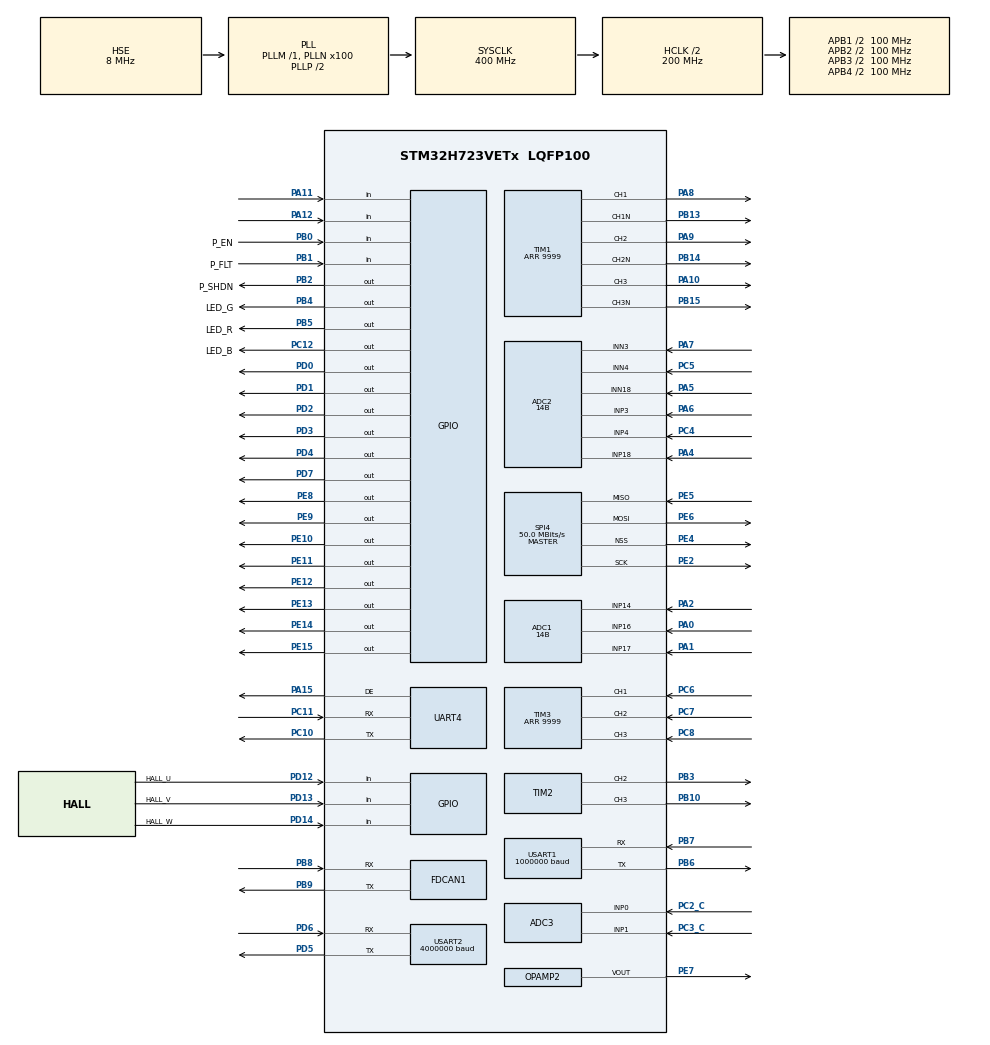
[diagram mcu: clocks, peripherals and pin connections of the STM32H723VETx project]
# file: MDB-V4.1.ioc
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ADC1.Channel-0\#ChannelRegularConversion=ADC_CHANNEL_14
ADC1.Channel-1\#ChannelRegularConversion=ADC_CHANNEL_17
ADC1.Channel-2\#ChannelRegularConversion=ADC_CHANNEL_16
ADC1.ClockPrescaler=ADC_CLOCK_ASYNC_DIV2
ADC1.ClockPrescalerADC3=ADC_CLOCK_ASYNC_DIV2
ADC1.ConversionDataManagement=ADC_CONVERSIONDATA_DMA_CIRCULAR
ADC1.EOCSelection=ADC_EOC_SEQ_CONV
ADC1.ExternalTrigConv=ADC_EXTERNALTRIG_T1_TRGO
ADC1.NbrOfConversion=3
ADC1.NbrOfConversionFlag=1
ADC1.OffsetNumber-0\#ChannelRegularConversion=ADC_OFFSET_NONE
ADC1.OffsetNumber-1\#ChannelRegularConversion=ADC_OFFSET_NONE
ADC1.OffsetNumber-2\#ChannelRegularConversion=ADC_OFFSET_NONE
ADC1.OffsetSignedSaturation-0\#ChannelRegularConversion=DISABLE
ADC1.OffsetSignedSaturation-1\#ChannelRegularConversion=DISABLE
ADC1.OffsetSignedSaturation-2\#ChannelRegularConversion=DISABLE
ADC1.Rank-0\#ChannelRegularConversion=1
ADC1.Rank-1\#ChannelRegularConversion=2
ADC1.Rank-2\#ChannelRegularConversion=3
ADC1.Resolution=ADC_RESOLUTION_14B
ADC1.SamplingTime-0\#ChannelRegularConversion=ADC_SAMPLETIME_1CYCLE_5
ADC1.SamplingTime-1\#ChannelRegularConversion=ADC_SAMPLETIME_1CYCLE_5
ADC1.SamplingTime-2\#ChannelRegularConversion=ADC_SAMPLETIME_1CYCLE_5
ADC1.master=1
ADC2.Channel-0\#ChannelRegularConversion=ADC_CHANNEL_4
ADC2.Channel-1\#ChannelRegularConversion=ADC_CHANNEL_3
ADC2.Channel-2\#ChannelRegularConversion=ADC_CHANNEL_18
ADC2.ClockPrescaler=ADC_CLOCK_ASYNC_DIV2
ADC2.ClockPrescalerADC3=ADC_CLOCK_ASYNC_DIV2
ADC2.ConversionDataManagement=ADC_CONVERSIONDATA_DMA_CIRCULAR
ADC2.EOCSelection=ADC_EOC_SEQ_CONV
ADC2.ExternalTrigConv=ADC_EXTERNALTRIG_T1_TRGO
ADC2.NbrOfConversion=3
ADC2.NbrOfConversionFlag=1
ADC2.OffsetNumber-0\#ChannelRegularConversion=ADC_OFFSET_NONE
ADC2.OffsetNumber-1\#ChannelRegularConversion=ADC_OFFSET_NONE
ADC2.OffsetNumber-2\#ChannelRegularConversion=ADC_OFFSET_NONE
ADC2.OffsetSignedSaturation-0\#ChannelRegularConversion=DISABLE
ADC2.Rank-0\#ChannelRegularConversion=1
ADC2.Rank-1\#ChannelRegularConversion=2
ADC2.Rank-2\#ChannelRegularConversion=3
ADC2.Resolution=ADC_RESOLUTION_14B
ADC2.SamplingTime-0\#ChannelRegularConversion=ADC_SAMPLETIME_2CYCLES_5
ADC2.SamplingTime-1\#ChannelRegularConversion=ADC_SAMPLETIME_2CYCLES_5
ADC2.SamplingTime-2\#ChannelRegularConversion=ADC_SAMPLETIME_2CYCLES_5
ADC2.SingleDiff-0\#ChannelRegularConversion=ADC_DIFFERENTIAL_ENDED
ADC2.SingleDiff-1\#ChannelRegularConversion=ADC_DIFFERENTIAL_ENDED
ADC2.SingleDiff-2\#ChannelRegularConversion=ADC_DIFFERENTIAL_ENDED
ADC3.Channel-0\#ChannelRegularConversion=ADC_CHANNEL_0
ADC3.Channel-1\#ChannelRegularConversion=ADC_CHANNEL_1
ADC3.ClockPrescaler=ADC_CLOCK_ASYNC_DIV2
ADC3.ClockPrescalerADC3=ADC_CLOCK_ASYNC_DIV2
ADC3.ConversionDataManagement=ADC_CONVERSIONDATA_DMA_CIRCULAR
ADC3.DMAContinuousRequests=ENABLE
ADC3.EOCSelection=ADC_EOC_SEQ_CONV
ADC3.ExternalTrigConv=ADC_EXTERNALTRIG_T1_TRGO
ADC3.NbrOfConversion=2
ADC3.NbrOfConversionFlag=1
ADC3.OffsetNumber-0\#ChannelRegularConversion=ADC_OFFSET_NONE
ADC3.OffsetNumber-1\#ChannelRegularConversion=ADC_OFFSET_NONE
ADC3.OffsetSign-0\#ChannelRegularConversion=ADC3_OFFSET_SIGN_NEGATIVE
ADC3.OffsetSign-1\#ChannelRegularConversion=ADC3_OFFSET_SIGN_NEGATIVE
ADC3.Rank-0\#ChannelRegularConversion=1
ADC3.Rank-1\#ChannelRegularConversion=2
ADC3.SamplingTime-0\#ChannelRegularConversion=ADC3_SAMPLETIME_2CYCLES_5
ADC3.SamplingTime-1\#ChannelRegularConversion=ADC3_SAMPLETIME_2CYCLES_5
DAC1.DAC_Channel-DAC_OUT2_Int=DAC_CHANNEL_2
Dma.ADC1.0.Direction=DMA_PERIPH_TO_MEMORY
Dma.ADC1.0.EventEnable=DISABLE
Dma.ADC1.0.FIFOMode=DMA_FIFOMODE_DISABLE
Dma.ADC1.0.Instance=DMA1_Stream0
Dma.ADC1.0.MemDataAlignment=DMA_MDATAALIGN_HALFWORD
Dma.ADC1.0.MemInc=DMA_MINC_ENABLE
Dma.ADC1.0.Mode=DMA_CIRCULAR
Dma.ADC1.0.PeriphDataAlignment=DMA_PDATAALIGN_HALFWORD
Dma.ADC1.0.PeriphInc=DMA_PINC_DISABLE
Dma.ADC1.0.Polarity=HAL_DMAMUX_REQ_GEN_RISING
Dma.ADC1.0.Priority=DMA_PRIORITY_VERY_HIGH
Dma.ADC1.0.RequestNumber=1
Dma.ADC1.0.SignalID=NONE
Dma.ADC1.0.SyncEnable=DISABLE
Dma.ADC1.0.SyncPolarity=HAL_DMAMUX_SYNC_NO_EVENT
Dma.ADC1.0.SyncRequestNumber=1
Dma.ADC1.0.SyncSignalID=NONE
Dma.ADC2.1.Direction=DMA_PERIPH_TO_MEMORY
Dma.ADC2.1.EventEnable=DISABLE
Dma.ADC2.1.FIFOMode=DMA_FIFOMODE_DISABLE
Dma.ADC2.1.Instance=DMA2_Stream0
Dma.ADC2.1.MemDataAlignment=DMA_MDATAALIGN_HALFWORD
Dma.ADC2.1.MemInc=DMA_MINC_ENABLE
Dma.ADC2.1.Mode=DMA_CIRCULAR
Dma.ADC2.1.PeriphDataAlignment=DMA_PDATAALIGN_HALFWORD
Dma.ADC2.1.PeriphInc=DMA_PINC_DISABLE
Dma.ADC2.1.Polarity=HAL_DMAMUX_REQ_GEN_RISING
Dma.ADC2.1.Priority=DMA_PRIORITY_VERY_HIGH
Dma.ADC2.1.RequestNumber=1
Dma.ADC2.1.SignalID=NONE
Dma.ADC2.1.SyncEnable=DISABLE
Dma.ADC2.1.SyncPolarity=HAL_DMAMUX_SYNC_NO_EVENT
Dma.ADC2.1.SyncRequestNumber=1
Dma.ADC2.1.SyncSignalID=NONE
Dma.ADC3.4.Direction=DMA_PERIPH_TO_MEMORY
Dma.ADC3.4.EventEnable=DISABLE
Dma.ADC3.4.FIFOMode=DMA_FIFOMODE_DISABLE
Dma.ADC3.4.Instance=DMA2_Stream1
Dma.ADC3.4.MemDataAlignment=DMA_MDATAALIGN_HALFWORD
Dma.ADC3.4.MemInc=DMA_MINC_ENABLE
Dma.ADC3.4.Mode=DMA_CIRCULAR
Dma.ADC3.4.PeriphDataAlignment=DMA_PDATAALIGN_HALFWORD
Dma.ADC3.4.PeriphInc=DMA_PINC_DISABLE
Dma.ADC3.4.Polarity=HAL_DMAMUX_REQ_GEN_RISING
Dma.ADC3.4.Priority=DMA_PRIORITY_HIGH
Dma.ADC3.4.RequestNumber=1
Dma.ADC3.4.SignalID=NONE
Dma.ADC3.4.SyncEnable=DISABLE
Dma.ADC3.4.SyncPolarity=HAL_DMAMUX_SYNC_NO_EVENT
Dma.ADC3.4.SyncRequestNumber=1
Dma.ADC3.4.SyncSignalID=NONE
Dma.Request0=ADC1
Dma.Request1=ADC2
Dma.Request2=USART1_TX
Dma.Request3=USART1_RX
Dma.Request4=ADC3
Dma.Request5=USART2_RX
Dma.Request6=USART2_TX
Dma.USART1_RX.3.Direction=DMA_PERIPH_TO_MEMORY
Dma.USART1_RX.3.EventEnable=DISABLE
Dma.USART1_RX.3.FIFOMode=DMA_FIFOMODE_DISABLE
Dma.USART1_RX.3.Instance=DMA1_Stream2
Dma.USART1_RX.3.MemDataAlignment=DMA_MDATAALIGN_BYTE
Dma.USART1_RX.3.MemInc=DMA_MINC_ENABLE
Dma.USART1_RX.3.Mode=DMA_NORMAL
Dma.USART1_RX.3.PeriphDataAlignment=DMA_PDATAALIGN_BYTE
Dma.USART1_RX.3.PeriphInc=DMA_PINC_DISABLE
Dma.USART1_RX.3.Polarity=HAL_DMAMUX_REQ_GEN_RISING
Dma.USART1_RX.3.Priority=DMA_PRIORITY_LOW
Dma.USART1_RX.3.RequestNumber=1
Dma.USART1_RX.3.SignalID=NONE
Dma.USART1_RX.3.SyncEnable=DISABLE
Dma.USART1_RX.3.SyncPolarity=HAL_DMAMUX_SYNC_NO_EVENT
Dma.USART1_RX.3.SyncRequestNumber=1
Dma.USART1_RX.3.SyncSignalID=NONE
Dma.USART1_TX.2.Direction=DMA_MEMORY_TO_PERIPH
Dma.USART1_TX.2.EventEnable=DISABLE
Dma.USART1_TX.2.FIFOMode=DMA_FIFOMODE_DISABLE
Dma.USART1_TX.2.Instance=DMA1_Stream1
Dma.USART1_TX.2.MemDataAlignment=DMA_MDATAALIGN_BYTE
Dma.USART1_TX.2.MemInc=DMA_MINC_ENABLE
Dma.USART1_TX.2.Mode=DMA_NORMAL
Dma.USART1_TX.2.PeriphDataAlignment=DMA_PDATAALIGN_BYTE
Dma.USART1_TX.2.PeriphInc=DMA_PINC_DISABLE
Dma.USART1_TX.2.Polarity=HAL_DMAMUX_REQ_GEN_RISING
Dma.USART1_TX.2.Priority=DMA_PRIORITY_LOW
Dma.USART1_TX.2.RequestNumber=1
Dma.USART1_TX.2.SignalID=NONE
Dma.USART1_TX.2.SyncEnable=DISABLE
Dma.USART1_TX.2.SyncPolarity=HAL_DMAMUX_SYNC_NO_EVENT
Dma.USART1_TX.2.SyncRequestNumber=1
Dma.USART1_TX.2.SyncSignalID=NONE
Dma.USART2_RX.5.Direction=DMA_PERIPH_TO_MEMORY
Dma.USART2_RX.5.EventEnable=DISABLE
Dma.USART2_RX.5.FIFOMode=DMA_FIFOMODE_DISABLE
Dma.USART2_RX.5.Instance=DMA1_Stream3
Dma.USART2_RX.5.MemDataAlignment=DMA_MDATAALIGN_BYTE
Dma.USART2_RX.5.MemInc=DMA_MINC_ENABLE
Dma.USART2_RX.5.Mode=DMA_NORMAL
Dma.USART2_RX.5.PeriphDataAlignment=DMA_PDATAALIGN_BYTE
Dma.USART2_RX.5.PeriphInc=DMA_PINC_DISABLE
Dma.USART2_RX.5.Polarity=HAL_DMAMUX_REQ_GEN_RISING
Dma.USART2_RX.5.Priority=DMA_PRIORITY_LOW
Dma.USART2_RX.5.RequestNumber=1
Dma.USART2_RX.5.SignalID=NONE
Dma.USART2_RX.5.SyncEnable=DISABLE
Dma.USART2_RX.5.SyncPolarity=HAL_DMAMUX_SYNC_NO_EVENT
Dma.USART2_RX.5.SyncRequestNumber=1
Dma.USART2_RX.5.SyncSignalID=NONE
Dma.USART2_TX.6.Direction=DMA_MEMORY_TO_PERIPH
Dma.USART2_TX.6.EventEnable=DISABLE
Dma.USART2_TX.6.FIFOMode=DMA_FIFOMODE_DISABLE
Dma.USART2_TX.6.Instance=DMA1_Stream4
Dma.USART2_TX.6.MemDataAlignment=DMA_MDATAALIGN_BYTE
Dma.USART2_TX.6.MemInc=DMA_MINC_ENABLE
Dma.USART2_TX.6.Mode=DMA_NORMAL
Dma.USART2_TX.6.PeriphDataAlignment=DMA_PDATAALIGN_BYTE
Dma.USART2_TX.6.PeriphInc=DMA_PINC_DISABLE
Dma.USART2_TX.6.Polarity=HAL_DMAMUX_REQ_GEN_RISING
Dma.USART2_TX.6.Priority=DMA_PRIORITY_LOW
Dma.USART2_TX.6.RequestNumber=1
Dma.USART2_TX.6.SignalID=NONE
Dma.USART2_TX.6.SyncEnable=DISABLE
Dma.USART2_TX.6.SyncPolarity=HAL_DMAMUX_SYNC_NO_EVENT
Dma.USART2_TX.6.SyncRequestNumber=1
Dma.USART2_TX.6.SyncSignalID=NONE
FDCAN1.CalculateBaudRateNominal=1250000
FDCAN1.CalculateTimeBitNominal=800
FDCAN1.CalculateTimeQuantumNominal=160.0
Mcu.Family=STM32H7
Mcu.Name=STM32H723VETx
Mcu.Package=LQFP100
NVIC.DMA1_Stream0_IRQn=true\:0\:0\:false\:false\:true\:false\:true\:true
NVIC.DMA1_Stream1_IRQn=true\:0\:0\:false\:false\:true\:false\:true\:true
NVIC.DMA1_Stream2_IRQn=true\:0\:0\:false\:false\:true\:false\:true\:true
NVIC.DMA1_Stream3_IRQn=true\:0\:0\:false\:false\:true\:false\:true\:true
NVIC.DMA1_Stream4_IRQn=true\:0\:0\:false\:false\:true\:false\:true\:true
NVIC.DMA2_Stream0_IRQn=true\:0\:0\:false\:false\:true\:false\:true\:true
NVIC.DMA2_Stream1_IRQn=true\:0\:0\:false\:false\:true\:false\:true\:true
NVIC.PriorityGroup=NVIC_PRIORITYGROUP_4
NVIC.TIM1_UP_IRQn=true\:0\:0\:false\:false\:true\:true\:true\:true
NVIC.USART1_IRQn=true\:0\:0\:false\:false\:true\:true\:true\:true
PA0.Mode=IN16-Single-Ended
PA0.Signal=ADC1_INP16
PA1.Mode=IN17-Single-Ended
PA1.Signal=ADC1_INP17
PA10.Signal=S_TIM1_CH3
PA11.Signal=GPIO_Input
PA12.Signal=GPIO_Input
PA13(JTMS/SWDIO).Mode=Serial_Wire
PA13(JTMS/SWDIO).Signal=DEBUG_JTMS-SWDIO
PA14(JTCK/SWCLK).Mode=Serial_Wire
PA14(JTCK/SWCLK).Signal=DEBUG_JTCK-SWCLK
PA15(JTDI).Mode=Hardware Flow Control (RS485)
PA15(JTDI).Signal=UART4_DE
PA2.Signal=ADCx_INP14
PA4.Signal=ADCx_INP18
PA5.Signal=ADCx_INN18
PA6.Signal=ADCx_INP3
PA7.Signal=ADCx_INN3
PA8.Signal=S_TIM1_CH1
PA9.Signal=S_TIM1_CH2
PB0.GPIO_Label=P_EN
PB0.GPIO_PuPd=GPIO_PULLUP
PB0.Signal=GPIO_Input
PB1.GPIO_Label=P_FLT
PB1.GPIO_PuPd=GPIO_PULLUP
PB1.Signal=GPIO_Input
PB10.Signal=S_TIM2_CH3
PB13.Mode=PWM Generation1 CH1 CH1N
PB13.Signal=TIM1_CH1N
PB14.Mode=PWM Generation2 CH2 CH2N
PB14.Signal=TIM1_CH2N
PB15.Mode=PWM Generation3 CH3 CH3N
PB15.Signal=TIM1_CH3N
PB2.GPIO_Label=P_SHDN
PB2.GPIO_Speed=GPIO_SPEED_FREQ_HIGH
PB2.Signal=GPIO_Output
PB3(JTDO/TRACESWO).Signal=S_TIM2_CH2
PB4(NJTRST).GPIO_Label=LED_G
PB4(NJTRST).PinState=GPIO_PIN_SET
PB4(NJTRST).Signal=GPIO_Output
PB5.GPIO_Label=LED_R
PB5.PinState=GPIO_PIN_SET
PB5.Signal=GPIO_Output
PB6.Mode=Asynchronous
PB6.Signal=USART1_TX
PB7.Mode=Asynchronous
PB7.Signal=USART1_RX
PB8.Mode=FDCAN_Activate
PB8.Signal=FDCAN1_RX
PB9.Mode=FDCAN_Activate
PB9.Signal=FDCAN1_TX
PC10.Mode=Asynchronous
PC10.Signal=UART4_TX
PC11.Mode=Asynchronous
PC11.Signal=UART4_RX
PC12.GPIO_Label=LED_B
PC12.PinState=GPIO_PIN_SET
PC12.Signal=GPIO_Output
PC2_C.Mode=IN0-Single-Ended
PC2_C.Signal=ADC3_INP0
PC3_C.Mode=IN1-Single-Ended
PC3_C.Signal=ADC3_INP1
PC4.Signal=ADCx_INP4
PC5.Signal=ADCx_INN4
PC6.GPIO_PuPd=GPIO_PULLUP
PC6.Signal=S_TIM3_CH1
PC7.GPIO_PuPd=GPIO_PULLUP
PC7.Signal=S_TIM3_CH2
PC8.GPIO_PuPd=GPIO_PULLUP
PC8.Signal=S_TIM3_CH3
PD0.Signal=GPIO_Output
PD1.Signal=GPIO_Output
PD12.GPIO_Label=HALL_U
PD12.GPIO_PuPd=GPIO_PULLUP
PD12.Signal=GPIO_Input
PD13.GPIO_Label=HALL_V
PD13.GPIO_PuPd=GPIO_PULLUP
PD13.Signal=GPIO_Input
PD14.GPIO_Label=HALL_W
PD14.GPIO_PuPd=GPIO_PULLUP
PD14.Signal=GPIO_Input
PD2.Signal=GPIO_Output
PD3.Signal=GPIO_Output
PD4.Signal=GPIO_Output
PD5.Mode=Asynchronous
PD5.Signal=USART2_TX
PD6.Mode=Asynchronous
PD6.Signal=USART2_RX
PD7.Signal=GPIO_Output
PE10.Signal=GPIO_Output
PE11.Signal=GPIO_Output
PE12.Signal=GPIO_Output
PE13.Signal=GPIO_Output
PE14.Signal=GPIO_Output
PE15.Signal=GPIO_Output
PE2.Mode=Full_Duplex_Master
PE2.Signal=SPI4_SCK
PE4.Mode=NSS_Signal_Hard_Output
PE4.Signal=SPI4_NSS
PE5.Mode=Full_Duplex_Master
PE5.Signal=SPI4_MISO
PE6.Mode=Full_Duplex_Master
PE6.Signal=SPI4_MOSI
PE7.Mode=Follower-DAC_OUT2-INP
PE7.Signal=OPAMP2_VOUT
PE8.Signal=GPIO_Output
PE9.Signal=GPIO_Output
PH0-OSC_IN.Mode=HSE-External-Oscillator
PH0-OSC_IN.Signal=RCC_OSC_IN
PH1-OSC_OUT.Mode=HSE-External-Oscillator
PH1-OSC_OUT.Signal=RCC_OSC_OUT
ProjectManager.HeapSize=0x200
ProjectManager.StackSize=0x400
ProjectManager.TargetToolchain=STM32CubeIDE
RCC.ADCFreq_Value=160000000
RCC.APB1Freq_Value=100000000
RCC.APB2Freq_Value=100000000
RCC.APB3Freq_Value=100000000
RCC.APB4Freq_Value=100000000
RCC.CortexFreq_Value=400000000
RCC.D1PPRE=RCC_APB3_DIV2
RCC.D2PPRE1=RCC_APB1_DIV2
RCC.D2PPRE2=RCC_APB2_DIV2
RCC.D3PPRE=RCC_APB4_DIV2
RCC.DIVM1=1
RCC.DIVM2=1
RCC.DIVN1=100
RCC.DIVN2=80
RCC.DIVP2=4
RCC.DIVQ1=8
RCC.HCLKFreq_Value=200000000
RCC.HPRE=RCC_HCLK_DIV2
RCC.HSE_VALUE=8000000
RCC.PLLSourceVirtual=RCC_PLLSOURCE_HSE
RCC.SYSCLKFreq_VALUE=400000000
RCC.SYSCLKSource=RCC_SYSCLKSOURCE_PLLCLK
RCC.USBFreq_Value=100000000
SH.ADCx_INN18.0=ADC2_INN18,IN18-Differential
SH.ADCx_INN3.0=ADC2_INN3,IN3-Differential
SH.ADCx_INN4.0=ADC2_INN4,IN4-Differential
SH.ADCx_INP14.0=ADC1_INP14,IN14-Single-Ended
SH.ADCx_INP18.0=ADC2_INP18,IN18-Differential
SH.ADCx_INP3.0=ADC2_INP3,IN3-Differential
SH.ADCx_INP4.0=ADC2_INP4,IN4-Differential
SH.S_TIM1_CH1.0=TIM1_CH1,PWM Generation1 CH1 CH1N
SH.S_TIM1_CH2.0=TIM1_CH2,PWM Generation2 CH2 CH2N
SH.S_TIM1_CH3.0=TIM1_CH3,PWM Generation3 CH3 CH3N
SH.S_TIM2_CH2.0=TIM2_CH2,PWM Generation2 CH2
SH.S_TIM2_CH3.0=TIM2_CH3,PWM Generation3 CH3
SH.S_TIM3_CH1.0=TIM3_CH1,Encoder_Interface
SH.S_TIM3_CH2.0=TIM3_CH2,Encoder_Interface
SH.S_TIM3_CH3.0=TIM3_CH3,Input_Capture3_from_TI3
SPI4.CalculateBaudRate=50.0 MBits/s
SPI4.Direction=SPI_DIRECTION_2LINES
SPI4.Mode=SPI_MODE_MASTER
SPI4.VirtualNSS=VM_NSSHARD
SPI4.VirtualType=VM_MASTER
TIM1.AutoReloadPreload=TIM_AUTORELOAD_PRELOAD_ENABLE
TIM1.Channel-PWM\ Generation1\ CH1\ CH1N=TIM_CHANNEL_1
TIM1.Channel-PWM\ Generation2\ CH2\ CH2N=TIM_CHANNEL_2
TIM1.Channel-PWM\ Generation3\ CH3\ CH3N=TIM_CHANNEL_3
TIM1.CounterMode=TIM_COUNTERMODE_CENTERALIGNED3
TIM1.OCMode_PWM-PWM\ Generation1\ CH1\ CH1N=TIM_OCMODE_PWM1
TIM1.Period=9999
TIM1.Pulse-PWM\ Generation1\ CH1\ CH1N=5000
TIM1.Pulse-PWM\ Generation2\ CH2\ CH2N=5000
TIM1.Pulse-PWM\ Generation3\ CH3\ CH3N=5000
TIM1.TIM_MasterOutputTrigger=TIM_TRGO_UPDATE
TIM2.AutoReloadPreload=TIM_AUTORELOAD_PRELOAD_ENABLE
TIM2.Channel-PWM\ Generation2\ CH2=TIM_CHANNEL_2
TIM2.Channel-PWM\ Generation3\ CH3=TIM_CHANNEL_3
TIM3.Channel-Input_Capture3_from_TI3=TIM_CHANNEL_3
TIM3.EncoderMode=TIM_ENCODERMODE_TI12
TIM3.IC1Filter=15
TIM3.IC2Filter=15
TIM3.Period=9999
USART1.BaudRate=1000000
USART1.VirtualMode-Asynchronous=VM_ASYNC
USART2.BaudRate=4000000
USART2.VirtualMode-Asynchronous=VM_ASYNC
VP_DAC1_VS_DACI2.Mode=DAC_OUT2_Int
VP_TIM1_VS_ClockSourceINT.Mode=Internal
VP_TIM2_VS_ClockSourceINT.Mode=Internal
board=custom

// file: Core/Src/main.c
/* USER CODE BEGIN Header */
/**
  ******************************************************************************
  * @file           : main.c
  * @brief          : Main program body
  ******************************************************************************
  * @attention
  *
  * Copyright (c) 2023 STMicroelectronics.
  * All rights reserved.
  *
  * This software is licensed under terms that can be found in the LICENSE file
  * in the root directory of this software component.
  * If no LICENSE file comes with this software, it is provided AS-IS.
  *
  ******************************************************************************
  */
/* USER CODE END Header */
#include "main.h"
#include "adc.h"
#include "dac.h"
#include "dma.h"
#include "fdcan.h"
#include "opamp.h"
#include "spi.h"
#include "tim.h"
#include "usart.h"
#include "gpio.h"

/* USER CODE BEGIN Includes */
#include "arm_math.h"

/* USER CODE END Includes */

/* USER CODE BEGIN PV */
uint32_t step,step_last = 0;
uint32_t tick = 0;
int16_t adc1[6];
int16_t adc2[6];
int16_t adc3[4];
/* USER CODE END PV */

void SystemClock_Config(void);
void PeriphCommonClock_Config(void);

int main(void)
{

  /* MCU Configuration--------------------------------------------------------*/

  /* Reset of all peripherals, Initializes the Flash interface and the Systick. */
  HAL_Init();

  /* Configure the system clock */
  SystemClock_Config();

/* Configure the peripherals common clocks */
  PeriphCommonClock_Config();

  /* Initialize all configured peripherals */
  MX_GPIO_Init();
  MX_DMA_Init();
  MX_ADC3_Init();
  MX_DAC1_Init();
  MX_FDCAN1_Init();
  MX_OPAMP2_Init();
  MX_TIM1_Init();
  MX_TIM2_Init();
  MX_TIM3_Init();
  MX_UART4_Init();
  MX_ADC2_Init();
  MX_USART1_UART_Init();
  MX_ADC1_Init();
  MX_SPI4_Init();
  MX_USART2_UART_Init();
  /* USER CODE BEGIN 2 */
  FOC_initialize(&rtM, &rtU, &rtY);	//控制算法初始�?????
  HAL_GPIO_WritePin(P_SHDN_GPIO_Port, P_SHDN_Pin, SET);
  //
  HAL_UART_EnableReceiverTimeout(&huart1);
  HAL_UART_ReceiverTimeout_Config(&huart1, 0xff);
  // 校准并开启ADC
  HAL_ADCEx_Calibration_Start(&hadc1,ADC_CALIB_OFFSET,ADC_DIFFERENTIAL_ENDED);
  HAL_Delay(100);
  HAL_ADCEx_Calibration_Start(&hadc2,ADC_CALIB_OFFSET,ADC_SINGLE_ENDED);
  HAL_Delay(100);
  HAL_ADCEx_Calibration_Start(&hadc3,ADC_CALIB_OFFSET,ADC_SINGLE_ENDED);
  HAL_Delay(100);
  HAL_ADC_Start_DMA(&hadc1, (uint32_t *)adc1, 6);
  HAL_ADC_Start_DMA(&hadc2, (uint32_t *)adc2, 6);
  HAL_ADC_Start_DMA(&hadc3, (uint32_t *)adc3, 4);
  HAL_DAC_Start(&hdac1, DAC_CHANNEL_2);
  HAL_OPAMP_Start(&hopamp2);
  // 编码器设�???????????
  HAL_TIM_Encoder_Start(&htim3, TIM_CHANNEL_ALL);
  HAL_TIM_IC_Start_IT(&htim3, TIM_CHANNEL_3);
  // �???????????启PWM
  HAL_TIM_PWM_Start(&htim1, TIM_CHANNEL_1);
  HAL_TIMEx_PWMN_Start(&htim1, TIM_CHANNEL_1);
  HAL_TIM_PWM_Start(&htim1, TIM_CHANNEL_2);
  HAL_TIMEx_PWMN_Start(&htim1, TIM_CHANNEL_2);
  HAL_TIM_PWM_Start(&htim1, TIM_CHANNEL_3);
  HAL_TIMEx_PWMN_Start(&htim1, TIM_CHANNEL_3);
//  HAL_TIM_Base_Start(&htim1);
  HAL_TIM_Base_Start_IT(&htim1);

  /* USER CODE END 2 */

  /* Infinite loop */
  /* USER CODE BEGIN WHILE */
  while (1)
  {
	  if(HAL_GetTick() != tick)
	  {
		  tick = HAL_GetTick();
		  if(tick%1000<500)
		  {
			  HAL_GPIO_WritePin(LED_R_GPIO_Port, LED_R_Pin, RESET);
		  }
		  else
		  {
			  HAL_GPIO_WritePin(LED_R_GPIO_Port, LED_R_Pin, SET);
		  }
		  if (step >= step_last+20)
		  {
			  HAL_GPIO_TogglePin(LED_R_GPIO_Port, LED_R_Pin);
			  step_last = (step/20)*20;
			  static int16_t send_buff[SL_UART_DATA_LEN];
			  send_buff[0] = rtU.Spd_set*32;
			  send_buff[1] = rtY.Sensor_Speed_m*32;
			  send_buff[2] = rtY.Sensor_Angle_e*4096;
			  send_buff[3] = rtY.Observer_Speed_m*32;
			  send_buff[4] = rtY.Observer_Angle_e*4096;
			  send_buff[5] = rtY.I_abc[0]*1024;
			  send_buff[6] = rtY.I_abc[1]*1024;
			  send_buff[7] = rtY.I_abc[2]*1024;

			  SL_uart_send(send_buff);
		  }
	  }
    /* USER CODE END WHILE */

  }
}

void SystemClock_Config(void)
{
  RCC_OscInitTypeDef RCC_OscInitStruct = {0};
  RCC_ClkInitTypeDef RCC_ClkInitStruct = {0};

  /** Supply configuration update enable
  */
  HAL_PWREx_ConfigSupply(PWR_LDO_SUPPLY);

  /** Configure the main internal regulator output voltage
  */
  __HAL_PWR_VOLTAGESCALING_CONFIG(PWR_REGULATOR_VOLTAGE_SCALE1);

  while(!__HAL_PWR_GET_FLAG(PWR_FLAG_VOSRDY)) {}

  /** Initializes the RCC Oscillators according to the specified parameters
  * in the RCC_OscInitTypeDef structure.
  */
  RCC_OscInitStruct.OscillatorType = RCC_OSCILLATORTYPE_HSE;
  RCC_OscInitStruct.HSEState = RCC_HSE_ON;
  RCC_OscInitStruct.PLL.PLLState = RCC_PLL_ON;
  RCC_OscInitStruct.PLL.PLLSource = RCC_PLLSOURCE_HSE;
  RCC_OscInitStruct.PLL.PLLM = 1;
  RCC_OscInitStruct.PLL.PLLN = 100;
  RCC_OscInitStruct.PLL.PLLP = 2;
  RCC_OscInitStruct.PLL.PLLQ = 8;
  RCC_OscInitStruct.PLL.PLLR = 2;
  RCC_OscInitStruct.PLL.PLLRGE = RCC_PLL1VCIRANGE_3;
  RCC_OscInitStruct.PLL.PLLVCOSEL = RCC_PLL1VCOWIDE;
  RCC_OscInitStruct.PLL.PLLFRACN = 0;
  if (HAL_RCC_OscConfig(&RCC_OscInitStruct) != HAL_OK)
  {
    Error_Handler();
  }

  /** Initializes the CPU, AHB and APB buses clocks
  */
  RCC_ClkInitStruct.ClockType = RCC_CLOCKTYPE_HCLK|RCC_CLOCKTYPE_SYSCLK
                              |RCC_CLOCKTYPE_PCLK1|RCC_CLOCKTYPE_PCLK2
                              |RCC_CLOCKTYPE_D3PCLK1|RCC_CLOCKTYPE_D1PCLK1;
  RCC_ClkInitStruct.SYSCLKSource = RCC_SYSCLKSOURCE_PLLCLK;
  RCC_ClkInitStruct.SYSCLKDivider = RCC_SYSCLK_DIV1;
  RCC_ClkInitStruct.AHBCLKDivider = RCC_HCLK_DIV2;
  RCC_ClkInitStruct.APB3CLKDivider = RCC_APB3_DIV2;
  RCC_ClkInitStruct.APB1CLKDivider = RCC_APB1_DIV2;
  RCC_ClkInitStruct.APB2CLKDivider = RCC_APB2_DIV2;
  RCC_ClkInitStruct.APB4CLKDivider = RCC_APB4_DIV2;

  if (HAL_RCC_ClockConfig(&RCC_ClkInitStruct, FLASH_LATENCY_2) != HAL_OK)
  {
    Error_Handler();
  }
}

void PeriphCommonClock_Config(void)
{
  RCC_PeriphCLKInitTypeDef PeriphClkInitStruct = {0};

  /** Initializes the peripherals clock
  */
  PeriphClkInitStruct.PeriphClockSelection = RCC_PERIPHCLK_ADC;
  PeriphClkInitStruct.PLL2.PLL2M = 1;
  PeriphClkInitStruct.PLL2.PLL2N = 80;
  PeriphClkInitStruct.PLL2.PLL2P = 4;
  PeriphClkInitStruct.PLL2.PLL2Q = 2;
  PeriphClkInitStruct.PLL2.PLL2R = 2;
  PeriphClkInitStruct.PLL2.PLL2RGE = RCC_PLL2VCIRANGE_3;
  PeriphClkInitStruct.PLL2.PLL2VCOSEL = RCC_PLL2VCOWIDE;
  PeriphClkInitStruct.PLL2.PLL2FRACN = 0;
  PeriphClkInitStruct.AdcClockSelection = RCC_ADCCLKSOURCE_PLL2;
  if (HAL_RCCEx_PeriphCLKConfig(&PeriphClkInitStruct) != HAL_OK)
  {
    Error_Handler();
  }
}

void Error_Handler(void)
{
  __disable_irq();
  while (1)
  {
  }
}
